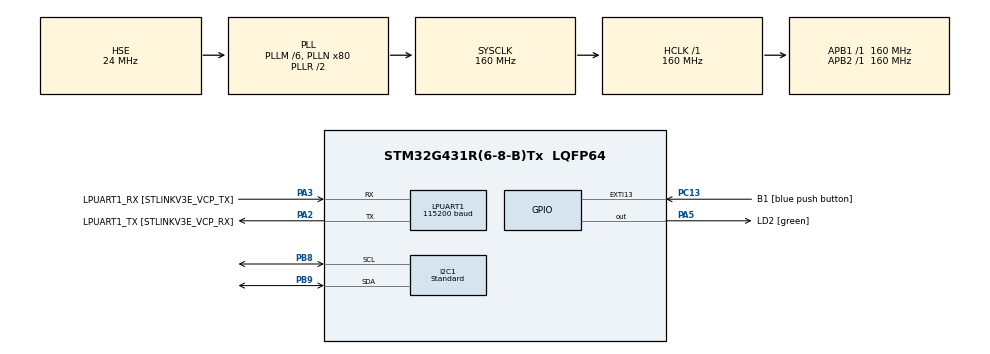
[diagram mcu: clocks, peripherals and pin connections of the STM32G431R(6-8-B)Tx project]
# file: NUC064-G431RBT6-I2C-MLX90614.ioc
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I2C1.I2C_Speed_Mode=I2C_Standard
I2C1.Timing=0x30909DEC
LPUART1.BaudRate=115200
LPUART1.WordLength=UART_WORDLENGTH_8B
Mcu.Family=STM32G4
Mcu.Name=STM32G431R(6-8-B)Tx
Mcu.Package=LQFP64
NVIC.PriorityGroup=NVIC_PRIORITYGROUP_4
PA13.GPIO_Label=T_SWDIO
PA13.Mode=Trace_Asynchronous_SW
PA13.Signal=SYS_JTMS-SWDIO
PA14.GPIO_Label=T_SWCLK
PA14.Mode=Trace_Asynchronous_SW
PA14.Signal=SYS_JTCK-SWCLK
PA2.GPIO_Label=LPUART1_TX [STLINKV3E_VCP_RX]
PA2.Mode=Asynchronous
PA2.Signal=LPUART1_TX
PA3.GPIO_Label=LPUART1_RX [STLINKV3E_VCP_TX]
PA3.Mode=Asynchronous
PA3.Signal=LPUART1_RX
PA5.GPIO_Label=LD2 [green]
PA5.Signal=GPIO_Output
PB3.GPIO_Label=T_SWO
PB3.Mode=Trace_Asynchronous_SW
PB3.Signal=SYS_JTDO-SWO
PB8-BOOT0.GPIO_FM8=SYSCFG_FASTMODEPLUS_PB8
PB8-BOOT0.GPIO_Speed=GPIO_SPEED_FREQ_VERY_HIGH
PB8-BOOT0.Mode=I2C
PB8-BOOT0.Signal=I2C1_SCL
PB9.GPIO_FM9=SYSCFG_FASTMODEPLUS_PB9
PB9.GPIO_Speed=GPIO_SPEED_FREQ_VERY_HIGH
PB9.Mode=I2C
PB9.Signal=I2C1_SDA
PC13.GPIO_Label=B1 [blue push button]
PC13.Signal=GPXTI13
PF0-OSC_IN.Mode=HSE-External-Oscillator
PF0-OSC_IN.Signal=RCC_OSC_IN
PF1-OSC_OUT.Mode=HSE-External-Oscillator
PF1-OSC_OUT.Signal=RCC_OSC_OUT
ProjectManager.HeapSize=0x200
ProjectManager.StackSize=0x400
ProjectManager.TargetToolchain=STM32CubeIDE
RCC.ADC12Freq_Value=160000000
RCC.AHBFreq_Value=160000000
RCC.APB1Freq_Value=160000000
RCC.APB1TimFreq_Value=160000000
RCC.APB2Freq_Value=160000000
RCC.APB2TimFreq_Value=160000000
RCC.CortexFreq_Value=160000000
RCC.EXTERNAL_CLOCK_VALUE=12288000
RCC.HCLKFreq_Value=160000000
RCC.HSE_VALUE=24000000
RCC.HSI48_VALUE=48000000
RCC.HSI_VALUE=16000000
RCC.PLLM=RCC_PLLM_DIV6
RCC.PLLN=80
RCC.PLLSourceVirtual=RCC_PLLSOURCE_HSE
RCC.RTCClockSelection=RCC_RTCCLKSOURCE_LSE
RCC.SYSCLKFreq_VALUE=160000000
RCC.SYSCLKSource=RCC_SYSCLKSOURCE_PLLCLK
RCC.USBFreq_Value=160000000
RCC.VCOOutputFreq_Value=320000000
VP_SYS_VS_DBSignals.Mode=DisableDeadBatterySignals
board=NUCLEO-G431RB

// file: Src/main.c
/* USER CODE BEGIN Header */
/**
  ******************************************************************************
  * @file           : main.c
  * @brief          : Main program body
  ******************************************************************************
  * @attention
  *
  * <h2><center>&copy; Copyright (c) 2020 STMicroelectronics.
  * All rights reserved.</center></h2>
  *
  * This software component is licensed by ST under BSD 3-Clause license,
  * the "License"; You may not use this file except in compliance with the
  * License. You may obtain a copy of the License at:
  *                        opensource.org/licenses/BSD-3-Clause
  *
  ******************************************************************************
  */
/* USER CODE END Header */

#include "main.h"

/* USER CODE BEGIN Includes */

#include <stdio.h>								// funkce pro ovládání vstupu a výstupu (USART)
#include <string.h>								// definice maker, konstant a deklarace funkcí a typů
#include <stdint.h>								// definice proměnných
#include "mlx90614.h"							// knihovna pro pyrosenzior MXL90614
/* USER CODE END Includes */

/* USER CODE BEGIN PTD */

#define INTERVAL 500							// interval v ms
#define TIME_TEST

/* USER CODE END PTD */

I2C_HandleTypeDef hi2c1;

UART_HandleTypeDef hlpuart1;

/* USER CODE BEGIN PV */

uint32_t lastTick;								// Multitasking delay
uint32_t i = 0;									// Count impulse

char buf[30];
uint8_t len;

float ObjectTemperature;
float AmbientTemperature;
float Emissivity;

/* USER CODE END PV */

void SystemClock_Config(void);
static void MX_GPIO_Init(void);
static void MX_I2C1_Init(void);
static void MX_LPUART1_UART_Init(void);
/* USER CODE BEGIN PFP */

/* USART -----------------------------------------------*/
#ifdef __GNUC__
/* With GCC/RAISONANCE, small printf (option LD Linker->Libraries->Small printf
 set to 'Yes') calls __io_putchar() */
#define PUTCHAR_PROTOTYPE int __io_putchar(int ch)
#else
#define PUTCHAR_PROTOTYPE int fputc(int ch, FILE *f)
#endif /* __GNUC__ */

/* USER CODE END PFP */

int main(void)
{

  /* MCU Configuration--------------------------------------------------------*/

  /* Reset of all peripherals, Initializes the Flash interface and the Systick. */
  HAL_Init();

  /* Configure the system clock */
  SystemClock_Config();

  /* Initialize all configured peripherals */
  MX_GPIO_Init();
  MX_I2C1_Init();
  MX_LPUART1_UART_Init();
  /* USER CODE BEGIN 2 */

  USERi2cScanner();
  MLX90614_Init(&hi2c1);
  MLX90614_SetEmissivity(0.985); // Human skin

  /* USER CODE END 2 */

  /* Infinite loop */
  /* USER CODE BEGIN WHILE */
  while (1)
  {
		if((HAL_GetTick() - lastTick) > INTERVAL)
		{
			lastTick	=	HAL_GetTick();							//Update last Tick
			printf ("Count: %04d \n \r", i);
			//HAL_GPIO_TogglePin (GPIOB, LD1_Pin); 					// Přepnout zelenou LED
			//HAL_GPIO_TogglePin (GPIOB, LD2_Pin); 					// Přepnout modrou LED
			//HAL_GPIO_TogglePin (GPIOB, LD3_Pin); 					// Přepnout červenou LED
			i++;
		}

		  MLX90614_ReadAmbientTemperature(&AmbientTemperature);
	#ifdef TIME_TEST
		  //HAL_GPIO_WritePin(TEST_GPIO_Port, TEST_Pin, 1);
	#endif
		  MLX90614_ReadObjectTemperature(&ObjectTemperature);
	#ifdef TIME_TEST
		  //HAL_GPIO_WritePin(TEST_GPIO_Port, TEST_Pin, 0);
	#endif
		  MLX90614_GetEmissivity(&Emissivity);

		  memset(buf, 0x00, 30);
		  len = sprintf(buf, "Emissivity: %.3f\n\r", Emissivity);
		  HAL_UART_Transmit(&hlpuart1, (uint8_t*)buf, len, 20);

		  memset(buf, 0x00, 30);
		  len = sprintf(buf, "Ambient: %.2f\n\r", AmbientTemperature);
		  HAL_UART_Transmit(&hlpuart1, (uint8_t*)buf, len, 20);

		  memset(buf, 0x00, 30);
		  len = sprintf(buf, "Object: %.2f\n\n\r", ObjectTemperature);
		  HAL_UART_Transmit(&hlpuart1, (uint8_t*)buf, len, 20);

		  HAL_Delay(500);
    /* USER CODE END WHILE */

  }
}

void SystemClock_Config(void)
{
  RCC_OscInitTypeDef RCC_OscInitStruct = {0};
  RCC_ClkInitTypeDef RCC_ClkInitStruct = {0};
  RCC_PeriphCLKInitTypeDef PeriphClkInit = {0};

  /** Configure the main internal regulator output voltage
  */
  HAL_PWREx_ControlVoltageScaling(PWR_REGULATOR_VOLTAGE_SCALE1_BOOST);
  /** Initializes the CPU, AHB and APB busses clocks
  */
  RCC_OscInitStruct.OscillatorType = RCC_OSCILLATORTYPE_HSE;
  RCC_OscInitStruct.HSEState = RCC_HSE_ON;
  RCC_OscInitStruct.PLL.PLLState = RCC_PLL_ON;
  RCC_OscInitStruct.PLL.PLLSource = RCC_PLLSOURCE_HSE;
  RCC_OscInitStruct.PLL.PLLM = RCC_PLLM_DIV6;
  RCC_OscInitStruct.PLL.PLLN = 80;
  RCC_OscInitStruct.PLL.PLLP = RCC_PLLP_DIV2;
  RCC_OscInitStruct.PLL.PLLQ = RCC_PLLQ_DIV2;
  RCC_OscInitStruct.PLL.PLLR = RCC_PLLR_DIV2;
  if (HAL_RCC_OscConfig(&RCC_OscInitStruct) != HAL_OK)
  {
    Error_Handler();
  }
  /** Initializes the CPU, AHB and APB busses clocks
  */
  RCC_ClkInitStruct.ClockType = RCC_CLOCKTYPE_HCLK|RCC_CLOCKTYPE_SYSCLK
                              |RCC_CLOCKTYPE_PCLK1|RCC_CLOCKTYPE_PCLK2;
  RCC_ClkInitStruct.SYSCLKSource = RCC_SYSCLKSOURCE_PLLCLK;
  RCC_ClkInitStruct.AHBCLKDivider = RCC_SYSCLK_DIV1;
  RCC_ClkInitStruct.APB1CLKDivider = RCC_HCLK_DIV1;
  RCC_ClkInitStruct.APB2CLKDivider = RCC_HCLK_DIV1;

  if (HAL_RCC_ClockConfig(&RCC_ClkInitStruct, FLASH_LATENCY_7) != HAL_OK)
  {
    Error_Handler();
  }
  /** Initializes the peripherals clocks
  */
  PeriphClkInit.PeriphClockSelection = RCC_PERIPHCLK_LPUART1|RCC_PERIPHCLK_I2C1;
  PeriphClkInit.Lpuart1ClockSelection = RCC_LPUART1CLKSOURCE_PCLK1;
  PeriphClkInit.I2c1ClockSelection = RCC_I2C1CLKSOURCE_PCLK1;
  if (HAL_RCCEx_PeriphCLKConfig(&PeriphClkInit) != HAL_OK)
  {
    Error_Handler();
  }
}

static void MX_I2C1_Init(void)
{

  hi2c1.Instance = I2C1;
  hi2c1.Init.Timing = 0x30909DEC;
  hi2c1.Init.OwnAddress1 = 0;
  hi2c1.Init.AddressingMode = I2C_ADDRESSINGMODE_7BIT;
  hi2c1.Init.DualAddressMode = I2C_DUALADDRESS_DISABLE;
  hi2c1.Init.OwnAddress2 = 0;
  hi2c1.Init.OwnAddress2Masks = I2C_OA2_NOMASK;
  hi2c1.Init.GeneralCallMode = I2C_GENERALCALL_DISABLE;
  hi2c1.Init.NoStretchMode = I2C_NOSTRETCH_DISABLE;
  if (HAL_I2C_Init(&hi2c1) != HAL_OK)
  {
    Error_Handler();
  }
  /** Configure Analogue filter
  */
  if (HAL_I2CEx_ConfigAnalogFilter(&hi2c1, I2C_ANALOGFILTER_ENABLE) != HAL_OK)
  {
    Error_Handler();
  }
  /** Configure Digital filter
  */
  if (HAL_I2CEx_ConfigDigitalFilter(&hi2c1, 0) != HAL_OK)
  {
    Error_Handler();
  }

}

static void MX_LPUART1_UART_Init(void)
{

  hlpuart1.Instance = LPUART1;
  hlpuart1.Init.BaudRate = 115200;
  hlpuart1.Init.WordLength = UART_WORDLENGTH_8B;
  hlpuart1.Init.StopBits = UART_STOPBITS_1;
  hlpuart1.Init.Parity = UART_PARITY_NONE;
  hlpuart1.Init.Mode = UART_MODE_TX_RX;
  hlpuart1.Init.HwFlowCtl = UART_HWCONTROL_NONE;
  hlpuart1.Init.OneBitSampling = UART_ONE_BIT_SAMPLE_DISABLE;
  hlpuart1.AdvancedInit.AdvFeatureInit = UART_ADVFEATURE_NO_INIT;
  if (HAL_UART_Init(&hlpuart1) != HAL_OK)
  {
    Error_Handler();
  }
  if (HAL_UARTEx_SetTxFifoThreshold(&hlpuart1, UART_TXFIFO_THRESHOLD_1_8) != HAL_OK)
  {
    Error_Handler();
  }
  if (HAL_UARTEx_SetRxFifoThreshold(&hlpuart1, UART_RXFIFO_THRESHOLD_1_8) != HAL_OK)
  {
    Error_Handler();
  }
  if (HAL_UARTEx_DisableFifoMode(&hlpuart1) != HAL_OK)
  {
    Error_Handler();
  }

}

static void MX_GPIO_Init(void)
{
  GPIO_InitTypeDef GPIO_InitStruct = {0};

  /* GPIO Ports Clock Enable */
  __HAL_RCC_GPIOC_CLK_ENABLE();
  __HAL_RCC_GPIOF_CLK_ENABLE();
  __HAL_RCC_GPIOA_CLK_ENABLE();
  __HAL_RCC_GPIOB_CLK_ENABLE();

  /*Configure GPIO pin Output Level */
  HAL_GPIO_WritePin(LD2_GPIO_Port, LD2_Pin, GPIO_PIN_RESET);

  /*Configure GPIO pin : B1_Pin */
  GPIO_InitStruct.Pin = B1_Pin;
  GPIO_InitStruct.Mode = GPIO_MODE_IT_RISING;
  GPIO_InitStruct.Pull = GPIO_NOPULL;
  HAL_GPIO_Init(B1_GPIO_Port, &GPIO_InitStruct);

  /*Configure GPIO pin : LD2_Pin */
  GPIO_InitStruct.Pin = LD2_Pin;
  GPIO_InitStruct.Mode = GPIO_MODE_OUTPUT_PP;
  GPIO_InitStruct.Pull = GPIO_NOPULL;
  GPIO_InitStruct.Speed = GPIO_SPEED_FREQ_LOW;
  HAL_GPIO_Init(LD2_GPIO_Port, &GPIO_InitStruct);

}

/* USER CODE BEGIN 4 */

/**************************** UART ***********************************************/
PUTCHAR_PROTOTYPE
{
	HAL_UART_Transmit(&hlpuart1, (uint8_t *)&ch, 1, 0xFFFF);
	return ch;
}
/**************************** UART - END *****************************************/
/**************************** i2C - scanner **************************************/
void USERi2cScanner()
{
	printf("\r\n");

	printf("Scanning I2C bus:\r\n");
	HAL_StatusTypeDef result;
	uint8_t i;
	for (i=1; i<128; i++)
	{
	  /*
	   * the HAL wants a left aligned i2c address
	   * &hi2c1 is the handle
	   * (uint16_t)(i<<1) is the i2c address left aligned
	   * retries 2
	   * timeout 2
	   */
	  result = HAL_I2C_IsDeviceReady(&hi2c1, (uint16_t)(i<<1), 2, 10);
	  if (result != HAL_OK) // HAL_ERROR or HAL_BUSY or HAL_TIMEOUT
	  {
		  printf("."); // No ACK received at that address
	  }
	  if (result == HAL_OK)
	  {
		  printf("0x%X", i); // Received an ACK at that address
	  }
	}
	printf("\r\n");
}

/* USER CODE END 4 */

void Error_Handler(void)
{
}

/************************ (C) COPYRIGHT STMicroelectronics *****END OF FILE****/
